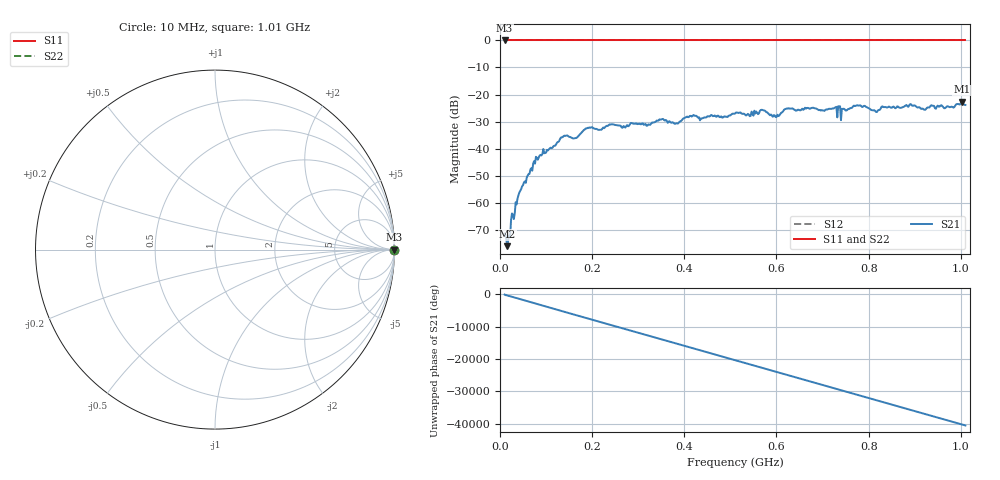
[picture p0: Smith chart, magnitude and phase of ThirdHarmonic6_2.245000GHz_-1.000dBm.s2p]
! 8/17/2025 2:39:34 AM
! C:\ANRITSUVNA\TEMP\TEMP.S2P
! CHANNEL.1
! TR.MEASUREMENT
! RAW.DATA
! RF.CORRECTION.OFF
! AVERAGING.OFF
! IF.BANDWIDTH: 5KHZ
! SWEEPTYPE:  FREQ.SWEEP(Linear)
! Reference Plane Port Info
! PORT:  PORT1  PORT2
! DISTANCE:  0  m  0  m
! TIME:  0  s  0  s
! PHASE.OFFSET:  0  deg.  0  deg.
! LOSS:  0  dB  0  dB
! REF.LOSS:  0  dB  0  dB
! REF.FREQ:  0  Hz  0  Hz
! Power Info
! POWER:  -20  dBm  -20  dBm
! EFF.POWER:  -20  dBm  -20  dBm
! SOURCE.ATTEN:  0  dB  0  dB
! TEST.ATTEN:  0  dB  0  dB
# GHZ S RI R 50.0
! FREQ.GHZ  S11RE  S11IM  S21RE  S21IM  S12RE  S12IM  S22RE  S22IM
!; PortSelection: Port_12
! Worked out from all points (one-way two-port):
!   501 points, 10 MHz to 1.01 GHz, reference 50 ohm
!   highest |S21| = -22.67 dB at 1.002 GHz (marker M1); lowest = -76.1 dB at 16 MHz (marker M2)
!   lowest |S11| = 0.0 dB at 10 MHz (marker M3)
!   |S11| at or under -10 dB: nowhere
!   |S22| runs from 0.0 to 0.0 dB; largest |S21 - S12| = 1.1
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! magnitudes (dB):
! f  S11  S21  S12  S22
! 10 MHz  0.0  -71.5  0.0  0.0
! 16 MHz  0.0  -76.1  0.0  0.0
! 42 MHz  0.0  -56.2  0.0  0.0
! 76 MHz  0.0  -45.6  0.0  0.0
! 136 MHz  0.0  -35.8  0.0  0.0
! 162 MHz  0.0  -36.2  0.0  0.0
! 178 MHz  0.0  -33.9  0.0  0.0
! 344 MHz  0.0  -29.7  0.0  0.0
! 382 MHz  0.0  -30.6  0.0  0.0
! 416 MHz  0.0  -28.2  0.0  0.0
! 510 MHz  0.0  -27.0  0.0  0.0
! 570 MHz  0.0  -25.7  0.0  0.0
! 602 MHz  0.0  -27.5  0.0  0.0
! 622 MHz  0.0  -25.2  0.0  0.0
! 678 MHz  0.0  -24.9  0.0  0.0
! 744 MHz  0.0  -25.4  0.0  0.0
! 778 MHz  0.0  -24.1  0.0  0.0
! 816 MHz  0.0  -26.5  0.0  0.0
! 844 MHz  0.0  -24.5  0.0  0.0
! 920 MHz  0.0  -25.6  0.0  0.0
! 1.002 GHz  0.0  -22.7  0.0  0.0
! 1.01 GHz  0.0  -23.9  0.0  0.0
